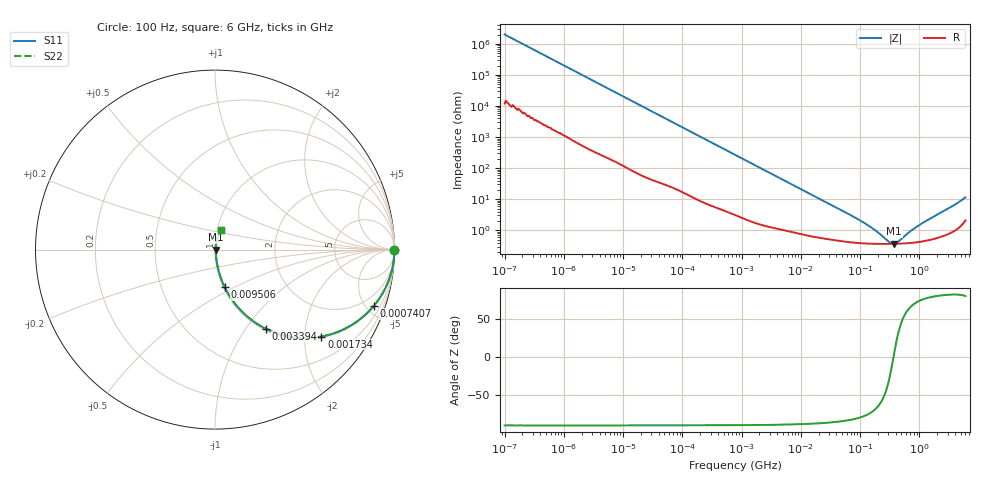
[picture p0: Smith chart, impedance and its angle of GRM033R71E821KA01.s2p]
!Murata Part Number: GRM033R71E821KA01
!These Parameters are Measured in Series Mode Connection
!Data Generated on Mar 30, 2021
!  o--ll--o
!Port1  Port2
!  o------o
!Operation Temp=25[degC], DC Bias Voltage=0[V]
!Freq. Start=100[Hz] Stop=6[GHz] 401[Steps]
# Hz S RI R 50
!Freq.(Hz) S11(Real) S11(Imag) S21(Real) S21(Imag) S12(Real) S12(Imag) S22(Real) S22(Imag)
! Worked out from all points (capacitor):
!   401 points, 100 Hz to 6 GHz, reference 50 ohm
!   read as one part in series: C = 789 pF near 109 Hz
!   lowest |Z| = 368 mohm at 373.7 MHz (marker M1)
!   series resonance near 367.1 MHz, so ESL is about 240 pH
!   S11 on the Smith chart (normalised r, x): 100 Hz: open; 740.7 kHz: 1.06, -5.64; 1.734 MHz: 1.03, -2.42; 3.394 MHz: 1.02, -1.24; 9.506 MHz: 1.02, -0.45; 6 GHz: 1.04, +0.23
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100  1 -4.97e-05  3e-07 4.97e-05  3e-07 4.97e-05  1 -4.97e-05
214  1 -0.000106  7e-07 0.000106  7e-07 0.000106  1 -0.000106
2008  1 -0.000986  6.2e-06 0.000986  6.2e-06 0.000986  1 -0.000986
40335  0.9995 -0.0196  0.000517 0.0196  0.000517 0.0196  0.9995 -0.0196
221108  0.9879 -0.1052  0.0121 0.1052  0.0121 0.1052  0.9879 -0.1052
452617  0.953 -0.2067  0.047 0.2067  0.047 0.2067  0.953 -0.2067
740679  0.8855 -0.3128  0.1145 0.3128  0.1145 0.3128  0.8855 -0.3128
774597  0.8763 -0.3235  0.1237 0.3235  0.1237 0.3235  0.8763 -0.3235
1159002  0.7628 -0.4192  0.2372 0.4192  0.2372 0.4192  0.7628 -0.4192
1734173  0.5931 -0.4843  0.4069 0.4843  0.4069 0.4843  0.5931 -0.4843
3394479  0.2821 -0.4404  0.7179 0.4404  0.7179 0.4404  0.2821 -0.4404
5554849  0.1332 -0.3272  0.8668 0.3272  0.8668 0.3272  0.1332 -0.3272
9506416  0.0544 -0.2103  0.9456 0.2103  0.9456 0.2103  0.0544 -0.2103
1.555665e7  0.0245 -0.1335  0.9755 0.1335  0.9755 0.1335  0.0245 -0.1335
3.64232e7  0.00824 -0.0584  0.9918 0.0584  0.9918 0.0584  0.00824 -0.0584
1.166697e8  0.00406 -0.0169  0.9959 0.0169  0.9959 0.0169  0.00406 -0.0169
1.825626e8  0.00374 -0.00907  0.9963 0.00907  0.9963 0.00907  0.00374 -0.00907
3.124326e8  0.00364 -0.00194  0.9964 0.00194  0.9964 0.00194  0.00364 -0.00194
3.737127e8  0.00366 0.000216  0.9963 -0.000216  0.9963 -0.000216  0.00366 0.000216
4.470121e8  0.0037 0.00238  0.9963 -0.00238  0.9963 -0.00238  0.0037 0.00238
1.000774e9  0.00439 0.014  0.9956 -0.014  0.9956 -0.014  0.00439 0.014
6e9  0.0321 0.1076  0.9679 -0.1076  0.9679 -0.1076  0.0321 0.1076
